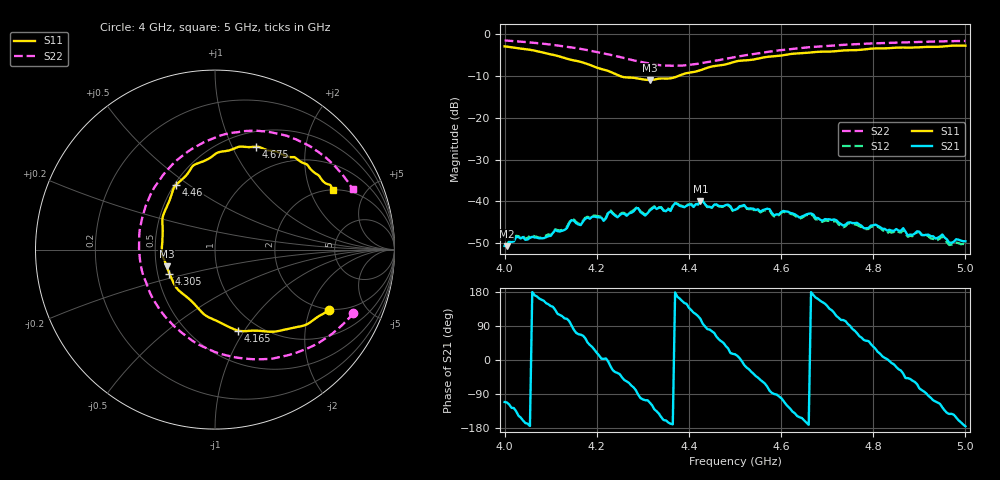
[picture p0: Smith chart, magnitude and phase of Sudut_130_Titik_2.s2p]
# Hz S RI R 50
! CMT, C1220, 16058040, 17.2.0/1
! Date: 15/08/2018 11:41:39
! Data: Format (Calibration Info)
! Freq  S11: Re/Im (F2)  S21: Re/Im (F2)  S12: Re/Im (F2)  S22: Re/Im (F2)
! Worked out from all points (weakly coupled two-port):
!   201 points, 4 GHz to 5 GHz, reference 50 ohm
!   highest |S21| = -39.89 dB at 4.425 GHz (marker M1); lowest = -50.8 dB at 4.005 GHz (marker M2)
!   lowest |S11| = -10.9 dB at 4.315 GHz (marker M3), VSWR 1.80, Z = 28.4 - j5.79 ohm
!   |S11| at or under -10 dB: 4.251 GHz to 4.376 GHz (124.5 MHz wide, 2.89 % of centre)
!   |S22| runs from -7.5 to -1.4 dB; largest |S21 - S12| = 0.00035
!   S11 on the Smith chart (normalised r, x): 4 GHz: 1.95, -2.74; 4.165 GHz: 0.81, -0.94; 4.305 GHz: 0.58, -0.17; 4.46 GHz: 0.51, +0.45; 4.675 GHz: 0.67, +1.24; 5 GHz: 1.99, +2.90
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4e9  0.6361 -0.3382  -0.00104 -0.00272  -0.000939 -0.00281  0.771 -0.3531
4.005e9  0.6269 -0.3444  -0.00109 -0.00269  -0.00103 -0.00285  0.7624 -0.3646
4.025e9  0.5818 -0.3686  -0.00266 -0.00263  -0.00265 -0.0028  0.7225 -0.4069
4.1e9  0.3603 -0.4526  -0.00305 0.00235  -0.00317 0.0023  0.5233 -0.5467
4.145e9  0.2045 -0.4517  -0.000177 0.00596  -0.000369 0.00612  0.361 -0.5978
4.165e9  0.13 -0.4517  0.00204 0.00477  0.00204 0.00491  0.2828 -0.6099
4.17e9  0.1141 -0.4467  0.00248 0.00514  0.00248 0.00532  0.2621 -0.6108
4.29e9  -0.2315 -0.1843  -0.00027 -0.00829  -0.000341 -0.00844  -0.2466 -0.4068
4.305e9  -0.2538 -0.1337  -0.00188 -0.00649  -0.00197 -0.00663  -0.2954 -0.3512
4.315e9  -0.2691 -0.0937  -0.00295 -0.00717  -0.00307 -0.00725  -0.3243 -0.3084
4.335e9  -0.2943 -0.0275  -0.00661 -0.0052  -0.00673 -0.00508  -0.3723 -0.2159
4.36e9  -0.2928 0.0585  -0.00751 -0.00157  -0.00761 -0.00147  -0.4123 -0.0928
4.37e9  -0.2914 0.099  -0.00949 0.000282  -0.00958 0.000358  -0.4194 -0.0443
4.425e9  -0.2536 0.2735  -0.00321 0.00961  -0.00297 0.00965  -0.3931 0.221
4.46e9  -0.2153 0.3622  0.00442 0.00804  0.00459 0.00783  -0.3261 0.3632
4.5e9  -0.1331 0.4526  0.00762 0.00206  0.00753 0.00194  -0.2236 0.4874
4.52e9  -0.1032 0.4779  0.00881 -0.00206  0.00865 -0.00217  -0.1668 0.5343
4.585e9  0.0414 0.5468  1.03e-05 -0.00677  -7.09e-05 -0.00659  0.0257 0.6343
4.67e9  0.2196 0.5727  -0.00687 0.00105  -0.00655 0.00115  0.26 0.6594
4.675e9  0.2277 0.5731  -0.00613 0.00165  -0.00585 0.00162  0.2724 0.6594
4.835e9  0.4835 0.4862  0.00456 -0.000199  0.00432 -0.000134  0.5872 0.5353
5e9  0.6548 0.3337  -0.0033 -0.000288  -0.00307 -0.000417  0.7668 0.3367
